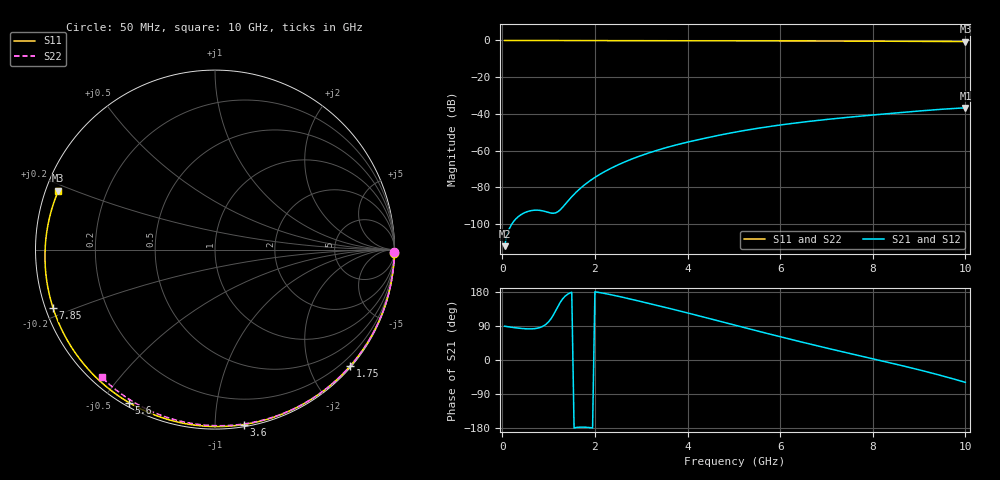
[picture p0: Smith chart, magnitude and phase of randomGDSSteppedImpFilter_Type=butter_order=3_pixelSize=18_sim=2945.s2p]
! freq	dB(S11)	phase(S11)	dB(S12)	phase(S12)
!  dB(S21)	phase(S21)	dB(S22)	phase(S22)
!S-par simulation data
#  GHz  S  DB  R 50
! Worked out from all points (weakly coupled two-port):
!   200 points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, 50 MHz to 10 GHz, reference 50 ohm
!   highest |S21| = -36.68 dB at 10 GHz (marker M1); lowest = -112.0 dB at 50 MHz (marker M2)
!   lowest |S11| = -0.6 dB at 10 GHz (marker M3), VSWR 28.61, Z = 1.81 + j9.06 ohm
!   |S11| at or under -10 dB: nowhere
!   |S22| runs from -0.4 to 0.0 dB; largest |S21 - S12| = 0
!   S11 on the Smith chart (normalised r, x): 50 MHz: 0, -96; 1.75 GHz: 0.02, -2.69; 3.6 GHz: 0.01, -1.18; 5.6 GHz: 0.02, -0.58; 7.85 GHz: 0.02, -0.17; 10 GHz: 0.04, +0.18
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0.05  -0.00 -1.2  -111.96 89.1  -111.96 89.1  -0.00 -0.8
0.45  -0.02 -10.7  -94.14 82.8  -94.14 82.8  -0.01 -6.8
0.85  -0.03 -20.1  -92.64 87.5  -92.64 87.5  -0.02 -12.9
1.25  -0.04 -29.3  -92.18 151.9  -92.18 151.9  -0.02 -18.8
1.7  -0.05 -39.6  -80.17 -177.2  -80.17 -177.2  -0.03 -25.5
1.75  -0.05 -40.8  -79.12 -177.2  -79.12 -177.2  -0.03 -26.3
2.05  -0.06 -47.5  -73.74 179.0  -73.74 179.0  -0.04 -30.7
2.25  -0.07 -51.9  -70.83 174.7  -70.83 174.7  -0.04 -33.6
2.45  -0.07 -56.3  -68.29 169.6  -68.29 169.6  -0.05 -36.5
2.9  -0.09 -66.0  -63.55 157.0  -63.55 157.0  -0.06 -42.9
3.4  -0.10 -76.5  -59.35 142.3  -59.35 142.3  -0.07 -50.0
3.6  -0.11 -80.6  -57.90 136.4  -57.90 136.4  -0.07 -52.8
4.3  -0.13 -94.6  -53.62 114.6  -53.62 114.6  -0.09 -62.4
5.05  -0.17 -109.1  -49.80 90.8  -49.80 90.8  -0.11 -72.3
5.6  -0.19 -119.3  -47.48 73.7  -47.48 73.7  -0.13 -79.5
6.15  -0.23 -129.4  -45.51 56.9  -45.51 56.9  -0.15 -86.4
6.7  -0.27 -139.4  -43.83 40.4  -43.83 40.4  -0.18 -93.2
7.3  -0.31 -150.2  -42.24 23.0  -42.24 23.0  -0.21 -100.5
7.85  -0.36 -160.1  -40.92 7.4  -40.92 7.4  -0.25 -107.0
8.35  -0.41 -169.3  -39.79 -6.8  -39.79 -6.8  -0.29 -112.8
9.2  -0.51 174.9  -38.00 -32.1  -38.00 -32.1  -0.36 -122.6
10  -0.61 159.4  -36.68 -59.0  -36.68 -59.0  -0.44 -131.6
